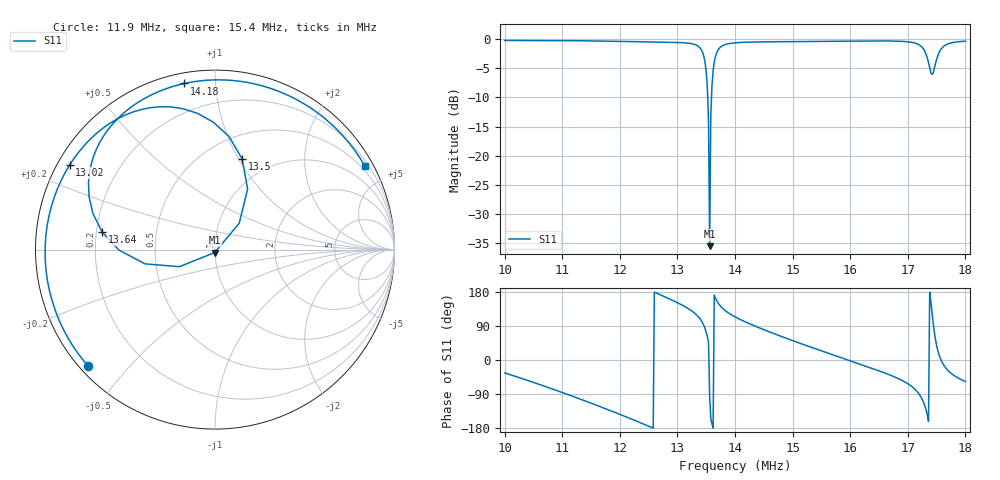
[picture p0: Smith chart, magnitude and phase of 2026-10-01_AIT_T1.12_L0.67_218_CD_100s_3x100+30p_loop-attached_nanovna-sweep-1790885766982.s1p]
! NanoVNA Web complex sweep
! Processing: original sample grid, no browser smoothing
# Hz S RI R 50
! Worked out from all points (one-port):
!   401 points, 10 MHz to 18 MHz, reference 50 ohm
!   lowest |S11| = -35.5 dB at 13.56 MHz (marker M1), VSWR 1.03, Z = 49.8 - j1.66 ohm
!   |S11| at or under -10 dB: 13.52588 MHz to 13.59231 MHz (66.43 kHz wide, 0.49 % of centre)
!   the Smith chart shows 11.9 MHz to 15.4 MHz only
!   S11 on the Smith chart (normalised r, x): 11.9 MHz: 0.02, -0.39; 13.02 MHz: 0.03, +0.27; 13.5 MHz: 0.74, +1.04; 13.64 MHz: 0.22, +0.07; 14.18 MHz: 0.05, +0.83; 15.4 MHz: 0.35, +3.79
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1e7  0.8092 -0.5442
1.1e7  0.0731 -0.9697
1.19e7  -0.7053 -0.6502
1.2e7  -0.7681 -0.5711
1.3e7  -0.8223 0.4505
1.302e7  -0.8097 0.4716
1.338e7  -0.3103 0.7958
1.35e7  0.1511 0.5057
1.352e7  0.1817 0.3374
1.356e7  -0.00209 -0.0166
1.36e7  -0.389 -0.0798
1.364e7  -0.629 0.0982
1.378e7  -0.6412 0.599
1.4e7  -0.3762 0.8509
1.418e7  -0.1712 0.9255
1.5e7  0.5977 0.7421
1.54e7  0.8334 0.4684
1.6e7  0.9617 -0.0344
1.658e7  0.8102 -0.5272
1.7e7  0.4393 -0.8427
1.722e7  -0.0804 -0.8762
1.734e7  -0.5681 -0.3862
1.74e7  -0.4666 0.2223
1.746e7  0.1488 0.5422
1.752e7  0.6479 0.3093
1.76e7  0.8392 -0.105
1.776e7  0.751 -0.5497
1.8e7  0.5274 -0.8025
